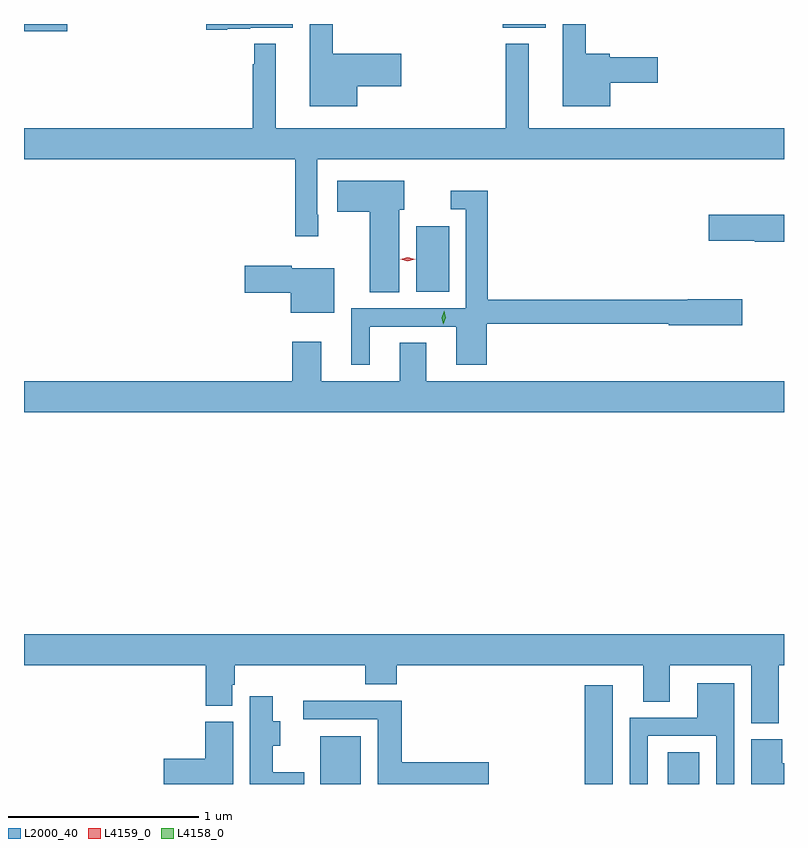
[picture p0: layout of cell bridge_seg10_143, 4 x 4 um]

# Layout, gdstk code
import gdstk
lib = gdstk.Library(unit=1e-6, precision=1e-09)
def R(c, l, rs):  # rectangles x0, y0, x1, y1
    for r in rs: c.add(gdstk.rectangle(r[:2], r[2:], *l))
def P(c, l, *ps):  # polygons
    for p in ps: c.add(gdstk.Polygon(p, *l))
L2000_40 = (2000, 40)
L4158_0 = (4158, 0)
L4159_0 = (4159, 0)

bridge_seg10_143 = lib.new_cell('bridge_seg10_143')
R(bridge_seg10_143, L2000_40, [(327.572,1302.356,327.784,1302.607), (328.964,1302.356,329.11,1302.877), (329.399,1302.356,329.566,1302.524), (328.076,1304.948,328.249,1305.292), (326.012,1306.319,326.239,1306.356), (328.532,1306.337,328.759,1306.356)])
P(bridge_seg10_143, L2000_40, [(327.082,1306.331),(327.204,1306.331),(327.204,1306.337),(327.427,1306.337),(327.427,1306.356),(326.97,1306.356),(326.97,1306.325),(327.082,1306.325)],
  [(329.098,1306.046),(329.347,1306.046),(329.347,1306.181),(329.094,1306.181),(329.094,1306.199),(328.969,1306.199),(328.969,1306.356),(328.847,1306.356),(328.847,1305.923),(329.098,1305.923)],
  [(327.766,1306.028),(327.997,1306.028),(327.997,1306.199),(327.637,1306.199),(327.637,1306.356),(327.515,1306.356),(327.515,1305.923),(327.766,1305.923)],
  [(327.56,1305.352),(327.555,1305.352),(327.555,1305.644),(330.012,1305.644),(330.012,1305.808),(328.669,1305.808),(328.669,1306.252),(328.548,1306.252),(328.548,1305.808),(327.337,1305.808),(327.337,1306.252),(327.223,1306.252),(327.223,1306.145),(327.216,1306.145),(327.216,1305.808),(326.012,1305.808),(326.012,1305.644),(327.439,1305.644),(327.439,1305.24),(327.56,1305.24)],
  [(327.988,1305.378),(328.012,1305.378),(328.012,1305.532),(327.66,1305.532),(327.66,1305.367),(327.833,1305.367),(327.833,1304.944),(327.988,1304.944)],
  [(327.832,1304.763),(328.286,1304.763),(328.286,1304.562),(328.448,1304.562),(328.448,1304.778),(329.406,1304.778),(329.406,1304.77),(329.791,1304.77),(329.791,1304.907),(329.506,1304.907),(329.506,1304.906),(328.454,1304.906),(328.454,1305.478),(328.257,1305.478),(328.257,1305.381),(328.338,1305.381),(328.338,1304.859),(327.734,1304.859),(327.734,1304.562),(327.832,1304.562)],
  [(330.012,1305.351),(329.616,1305.351),(329.616,1305.214),(329.859,1305.214),(329.859,1305.209),(330.012,1305.209)],
  [(327.646,1305.07),(327.42,1305.07),(327.42,1305.083),(327.174,1305.083),(327.174,1304.941),(327.416,1304.941),(327.416,1304.837),(327.646,1304.837)],
  [(330.012,1304.476),(328.129,1304.476),(328.129,1304.678),(327.989,1304.678),(327.989,1304.476),(327.577,1304.476),(327.577,1304.683),(327.425,1304.683),(327.425,1304.476),(326.012,1304.476),(326.012,1304.312),(330.012,1304.312)],
  [(329.984,1302.98),(330.012,1302.98),(330.012,1303.144),(326.012,1303.144),(326.012,1302.98),(326.969,1302.98),(326.969,1302.769),(327.109,1302.769),(327.109,1302.879),(327.122,1302.879),(327.122,1302.98),(327.809,1302.98),(327.809,1302.881),(327.974,1302.881),(327.974,1302.98),(329.27,1302.98),(329.27,1302.79),(329.41,1302.79),(329.41,1302.98),(329.84,1302.98),(329.84,1302.676),(329.984,1302.676)],
  [(329.295,1302.609),(329.655,1302.609),(329.655,1302.356),(329.751,1302.356),(329.751,1302.886),(329.555,1302.886),(329.555,1302.705),(329.199,1302.705),(329.199,1302.356),(329.295,1302.356)],
  [(327.487,1302.418),(327.322,1302.418),(327.322,1302.557),(327.361,1302.557),(327.361,1302.687),(327.322,1302.687),(327.322,1302.817),(327.2,1302.817),(327.2,1302.356),(327.487,1302.356)],
  [(328.459,1302.47),(328.001,1302.47),(328.001,1302.794),(327.483,1302.794),(327.483,1302.696),(327.875,1302.696),(327.875,1302.356),(328.459,1302.356)],
  [(327.112,1302.684),(326.966,1302.684),(326.966,1302.488),(326.748,1302.488),(326.748,1302.356),(327.112,1302.356)],
  [(330.012,1302.464),(330.002,1302.464),(330.002,1302.591),(329.84,1302.591),(329.84,1302.356),(330.012,1302.356)])
P(bridge_seg10_143, L4158_0, [(328.219,1304.775),(328.219,1304.775),(328.211,1304.811),(328.223,1304.847),(328.223,1304.847),(328.223,1304.847),(328.231,1304.81),(328.219,1304.775)])
P(bridge_seg10_143, L4159_0, [(328.032,1305.108),(327.992,1305.117),(327.992,1305.118),(327.992,1305.118),(328.032,1305.128),(328.072,1305.118),(328.072,1305.118),(328.072,1305.117)])

lib.write_gds('bridge_seg10_143.gds')
